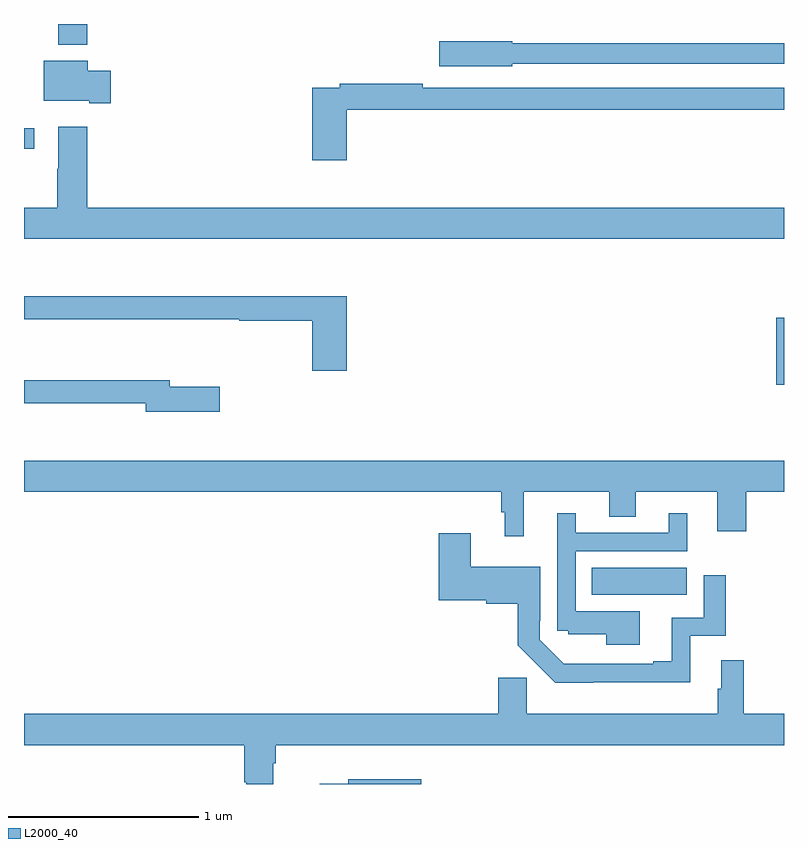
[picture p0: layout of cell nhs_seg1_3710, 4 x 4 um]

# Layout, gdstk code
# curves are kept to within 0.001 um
import gdstk
lib = gdstk.Library(unit=1e-6, precision=1e-09)
def R(c, l, rs):  # rectangles x0, y0, x1, y1
    for r in rs: c.add(gdstk.rectangle(r[:2], r[2:], *l))
def P(c, l, *ps):  # polygons
    for p in ps: c.add(gdstk.Polygon(p, *l))
L2000_40 = (2000, 40)

nhs_seg1_3710 = lib.new_cell('nhs_seg1_3710')
R(nhs_seg1_3710, L2000_40, [(315.988,547.196,316.489,547.336), (316.958,548.301,317,548.653), (313,549.543,313.054,549.651), (313.181,550.091,313.334,550.199)])
P(nhs_seg1_3710, L2000_40, [(315.57,549.99),(317,549.99),(317,550.099),(315.57,550.099),(315.57,550.107),(315.186,550.107),(315.186,549.977),(315.57,549.977)],
  [(313.456,549.952),(313.336,549.952),(313.336,550.006),(313.103,550.006),(313.103,549.794),(313.343,549.794),(313.343,549.782),(313.456,549.782)],
  [(314.699,549.748),(317,549.748),(317,549.864),(315.098,549.864),(315.098,549.884),(314.662,549.884),(314.662,549.864),(314.516,549.864),(314.516,549.483),(314.699,549.483)],
  [(317,549.232),(313.334,549.232),(313.334,549.658),(313.181,549.658),(313.181,549.437),(313.174,549.437),(313.174,549.232),(313,549.232),(313,549.068),(317,549.068)],
  [(314.699,548.767),(313,548.767),(313,548.646),(314.132,548.646),(314.132,548.638),(314.516,548.638),(314.516,548.373),(314.699,548.373)],
  [(314.029,548.289),(313.768,548.289),(313.768,548.323),(313,548.323),(313,548.202),(313.64,548.202),(313.64,548.159),(314.029,548.159)],
  [(315.629,547.736),(316.079,547.736),(316.079,547.606),(316.219,547.606),(316.219,547.736),(316.649,547.736),(316.649,547.53),(316.802,547.53),(316.802,547.736),(317,547.736),(317,547.9),(313,547.9),(313,547.736),(315.511,547.736),(315.511,547.628),(315.53,547.628),(315.53,547.503),(315.629,547.503)],
  [(316.24,547.108),(315.903,547.108),(315.903,547.425),(316.492,547.425),(316.492,547.624),(316.394,547.624),(316.394,547.521),(315.904,547.521),(315.904,547.624),(315.807,547.624),(315.807,547.005),(315.864,547.005),(315.864,546.986),(316.064,546.986),(316.064,546.932),(316.24,546.932)],
  [(315.995,546.734),(316.507,546.734),(316.507,546.978),(316.694,546.978),(316.694,547.297),(316.578,547.297),(316.578,547.074),(316.409,547.074),(316.409,546.844),(316.313,546.844),(316.313,546.831),(315.84,546.832),(315.714,546.957),(315.714,547.057),(315.717,547.057),(315.717,547.342),(315.352,547.342),(315.352,547.519),(315.182,547.519),(315.182,547.166),(315.432,547.166),(315.432,547.148),(315.599,547.148),(315.599,546.929),(315.796,546.732),(315.995,546.732)],
  [(314.311,546.308),(314.324,546.308),(314.324,546.404),(317,546.404),(317,546.568),(316.787,546.568),(316.787,546.85),(316.67,546.85),(316.67,546.701),(316.651,546.701),(316.651,546.568),(315.647,546.568),(315.647,546.759),(315.497,546.759),(315.497,546.568),(313,546.568),(313,546.404),(314.159,546.404),(314.159,546.208),(314.171,546.208),(314.171,546.199),(314.311,546.199)],
  [(315.091,546.223),(314.706,546.223),(314.706,546.2),(314.556,546.2),(314.556,546.199),(315.091,546.199)])

lib.write_gds('nhs_seg1_3710.gds')
